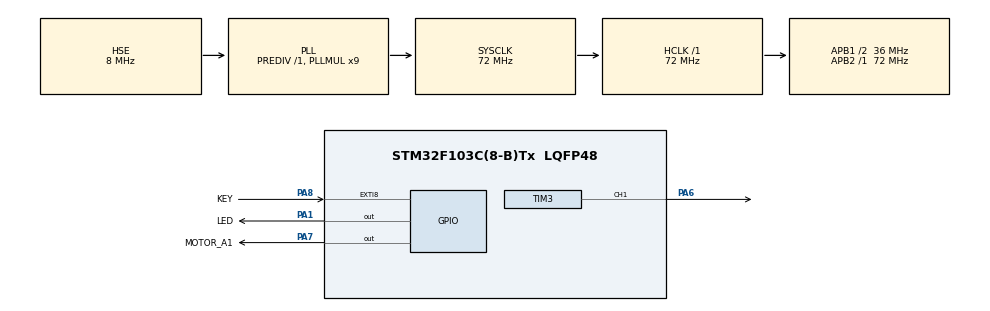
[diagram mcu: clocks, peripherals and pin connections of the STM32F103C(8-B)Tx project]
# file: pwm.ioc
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Mcu.Family=STM32F1
Mcu.Name=STM32F103C(8-B)Tx
Mcu.Package=LQFP48
NVIC.EXTI9_5_IRQn=true\:1\:0\:true\:false\:true\:true\:true
NVIC.PriorityGroup=NVIC_PRIORITYGROUP_1
PA1.GPIO_Label=LED
PA1.Signal=GPIO_Output
PA13.Mode=Serial_Wire
PA13.Signal=SYS_JTMS-SWDIO
PA14.Mode=Serial_Wire
PA14.Signal=SYS_JTCK-SWCLK
PA6.Signal=S_TIM3_CH1
PA7.GPIO_Label=MOTOR_A1
PA7.GPIO_PuPd=GPIO_NOPULL
PA7.Signal=GPIO_Output
PA8.GPIO_Label=KEY
PA8.GPIO_ModeDefaultEXTI=GPIO_MODE_IT_FALLING
PA8.GPIO_PuPd=GPIO_PULLUP
PA8.Signal=GPXTI8
PD0-OSC_IN.Mode=HSE-External-Oscillator
PD0-OSC_IN.Signal=RCC_OSC_IN
PD1-OSC_OUT.Mode=HSE-External-Oscillator
PD1-OSC_OUT.Signal=RCC_OSC_OUT
ProjectManager.HeapSize=0x200
ProjectManager.StackSize=0x400
ProjectManager.TargetToolchain=Makefile
RCC.AHBFreq_Value=72000000
RCC.APB1CLKDivider=RCC_HCLK_DIV2
RCC.APB1Freq_Value=36000000
RCC.APB1TimFreq_Value=72000000
RCC.APB2Freq_Value=72000000
RCC.APB2TimFreq_Value=72000000
RCC.HCLKFreq_Value=72000000
RCC.PLLMUL=RCC_PLL_MUL9
RCC.PLLSourceVirtual=RCC_PLLSOURCE_HSE
RCC.SYSCLKFreq_VALUE=72000000
RCC.SYSCLKSource=RCC_SYSCLKSOURCE_PLLCLK
RCC.USBFreq_Value=72000000
SH.S_TIM3_CH1.0=TIM3_CH1,PWM Generation1 CH1
TIM3.Channel-PWM\ Generation1\ CH1=TIM_CHANNEL_1
TIM3.Period=100 - 1
TIM3.Prescaler=7200 - 1
board=custom

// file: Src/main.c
/* USER CODE BEGIN Header */
/**
  ******************************************************************************
  * @file           : main.c
  * @brief          : Main program body
  ******************************************************************************
  * @attention
  *
  * <h2><center>&copy; Copyright (c) 2019 STMicroelectronics.
  * All rights reserved.</center></h2>
  *
  * This software component is licensed by ST under BSD 3-Clause license,
  * the "License"; You may not use this file except in compliance with the
  * License. You may obtain a copy of the License at:
  *                        opensource.org/licenses/BSD-3-Clause
  *
  ******************************************************************************
  */
/* USER CODE END Header */

#include "main.h"
#include "tim.h"
#include "gpio.h"

/* USER CODE BEGIN PV */
uint16_t gPulse = 0;

/* USER CODE END PV */

void SystemClock_Config(void);

int main(void)
{
  /* USER CODE BEGIN 1 */
  TIM_OC_InitTypeDef sConfigOC = {0};
  /* USER CODE END 1 */

  /* MCU Configuration--------------------------------------------------------*/

  /* Reset of all peripherals, Initializes the Flash interface and the Systick. */
  HAL_Init();

  /* Configure the system clock */
  SystemClock_Config();

  /* Initialize all configured peripherals */
  MX_GPIO_Init();
  MX_TIM3_Init();

  /* Infinite loop */
  /* USER CODE BEGIN WHILE */
  gPulse = 0;
  HAL_GPIO_WritePin(GPIOA, GPIO_PIN_1, GPIO_PIN_SET);

  HAL_GPIO_WritePin(GPIOA, GPIO_PIN_7, GPIO_PIN_RESET);

  sConfigOC.OCMode = TIM_OCMODE_PWM1;
  sConfigOC.Pulse = gPulse;
  sConfigOC.OCPolarity = TIM_OCPOLARITY_HIGH;
  sConfigOC.OCFastMode = TIM_OCFAST_DISABLE;
  if (HAL_TIM_OC_ConfigChannel(&htim3, &sConfigOC, TIM_CHANNEL_1) != HAL_OK)
  {
    Error_Handler();
  }
  HAL_TIM_PWM_Start(&htim3, TIM_CHANNEL_1);

  while (1)
  {
    /* USER CODE END WHILE */

  }
}

void SystemClock_Config(void)
{
  RCC_OscInitTypeDef RCC_OscInitStruct = {0};
  RCC_ClkInitTypeDef RCC_ClkInitStruct = {0};

  /** Initializes the CPU, AHB and APB busses clocks
  */
  RCC_OscInitStruct.OscillatorType = RCC_OSCILLATORTYPE_HSE;
  RCC_OscInitStruct.HSEState = RCC_HSE_ON;
  RCC_OscInitStruct.HSEPredivValue = RCC_HSE_PREDIV_DIV1;
  RCC_OscInitStruct.HSIState = RCC_HSI_ON;
  RCC_OscInitStruct.PLL.PLLState = RCC_PLL_ON;
  RCC_OscInitStruct.PLL.PLLSource = RCC_PLLSOURCE_HSE;
  RCC_OscInitStruct.PLL.PLLMUL = RCC_PLL_MUL9;
  if (HAL_RCC_OscConfig(&RCC_OscInitStruct) != HAL_OK)
  {
    Error_Handler();
  }
  /** Initializes the CPU, AHB and APB busses clocks
  */
  RCC_ClkInitStruct.ClockType = RCC_CLOCKTYPE_HCLK|RCC_CLOCKTYPE_SYSCLK
                              |RCC_CLOCKTYPE_PCLK1|RCC_CLOCKTYPE_PCLK2;
  RCC_ClkInitStruct.SYSCLKSource = RCC_SYSCLKSOURCE_PLLCLK;
  RCC_ClkInitStruct.AHBCLKDivider = RCC_SYSCLK_DIV1;
  RCC_ClkInitStruct.APB1CLKDivider = RCC_HCLK_DIV2;
  RCC_ClkInitStruct.APB2CLKDivider = RCC_HCLK_DIV1;

  if (HAL_RCC_ClockConfig(&RCC_ClkInitStruct, FLASH_LATENCY_2) != HAL_OK)
  {
    Error_Handler();
  }
}

/* USER CODE BEGIN 4 */
void HAL_GPIO_EXTI_Callback(uint16_t GPIO_Pin)
{
  if (GPIO_Pin == GPIO_PIN_8)
  {
    TIM_OC_InitTypeDef sConfigOC = {0};

    gPulse = (gPulse + 40) % 120;

    HAL_GPIO_WritePin(
      GPIOA,
      GPIO_PIN_1,
      (gPulse > 0) ? GPIO_PIN_RESET : GPIO_PIN_SET
    );

    sConfigOC.OCMode = TIM_OCMODE_PWM1;
    sConfigOC.Pulse = gPulse;
    sConfigOC.OCPolarity = TIM_OCPOLARITY_HIGH;
    sConfigOC.OCFastMode = TIM_OCFAST_DISABLE;
    if (HAL_TIM_OC_ConfigChannel(&htim3, &sConfigOC, TIM_CHANNEL_1) != HAL_OK)
    {
      Error_Handler();
    }

    HAL_TIM_PWM_Start(&htim3, TIM_CHANNEL_1);
  }
}

/* USER CODE END 4 */

void Error_Handler(void)
{
  /* USER CODE BEGIN Error_Handler_Debug */
  /* User can add his own implementation to report the HAL error return state */
  while (1)
  {
    HAL_GPIO_TogglePin(GPIOA, GPIO_PIN_1);
    HAL_Delay(1000);
  }

  /* USER CODE END Error_Handler_Debug */
}

/************************ (C) COPYRIGHT STMicroelectronics *****END OF FILE****/
